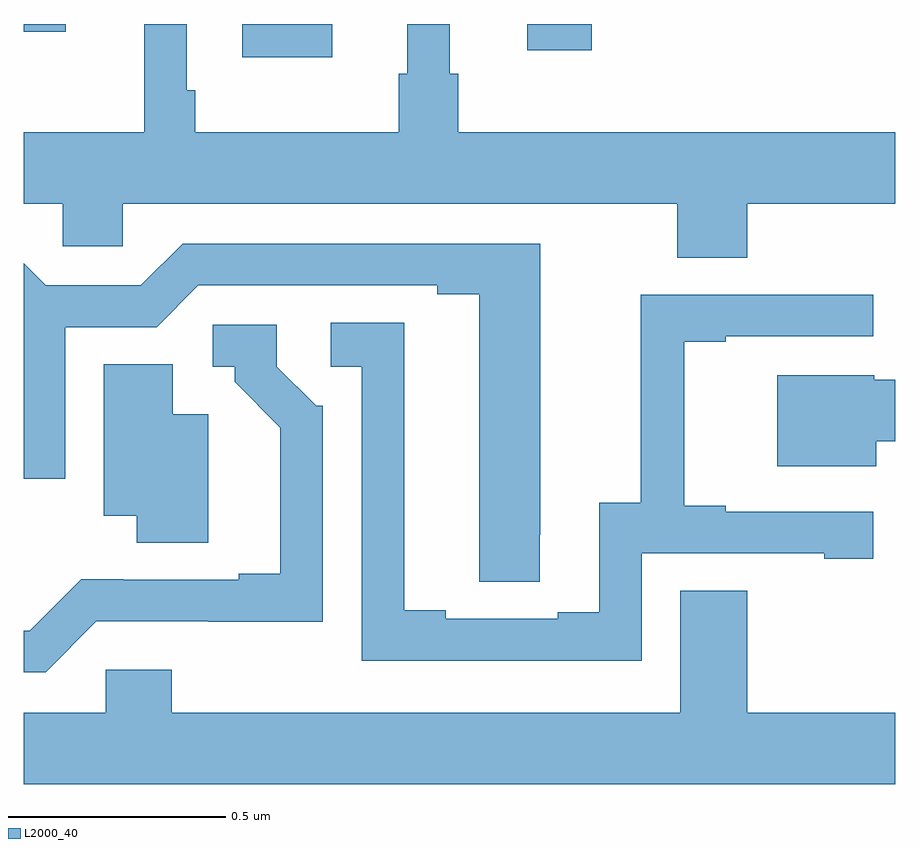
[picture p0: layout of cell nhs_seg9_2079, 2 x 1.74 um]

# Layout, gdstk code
import gdstk
lib = gdstk.Library(unit=1e-6, precision=1e-09)
def R(c, l, rs):  # rectangles x0, y0, x1, y1
    for r in rs: c.add(gdstk.rectangle(r[:2], r[2:], *l))
def P(c, l, *ps):  # polygons
    for p in ps: c.add(gdstk.Polygon(p, *l))
L2000_40 = (2000, 40)

nhs_seg9_2079 = lib.new_cell('nhs_seg9_2079')
R(nhs_seg9_2079, L2000_40, [(136.502,1195.424,136.708,1195.5), (137.156,1195.44,137.303,1195.5), (136,1195.482,136.097,1195.5)])
P(nhs_seg9_2079, L2000_40, [(136,1195.088),(136.089,1195.088),(136.089,1194.99),(136.227,1194.99),(136.227,1195.088),(137.5,1195.088),(137.5,1194.964),(137.66,1194.964),(137.66,1195.088),(138,1195.088),(138,1195.252),(136.997,1195.252),(136.997,1195.386),(136.978,1195.386),(136.978,1195.5),(136.88,1195.5),(136.88,1195.386),(136.861,1195.386),(136.861,1195.252),(136.394,1195.252),(136.394,1195.348),(136.374,1195.348),(136.374,1195.5),(136.277,1195.5),(136.277,1195.252),(136,1195.252)],
  [(137.184,1194.328),(137.185,1194.328),(137.185,1194.996),(136.365,1194.996),(136.269,1194.9),(136.051,1194.9),(136,1194.951),(136,1194.456),(136.095,1194.456),(136.095,1194.804),(136.305,1194.804),(136.401,1194.9),(136.949,1194.9),(136.949,1194.88),(137.045,1194.88),(137.045,1194.22),(137.184,1194.22)],
  [(137.418,1194.285),(137.837,1194.285),(137.837,1194.273),(137.95,1194.273),(137.95,1194.381),(137.611,1194.381),(137.611,1194.394),(137.516,1194.394),(137.516,1194.771),(137.611,1194.771),(137.611,1194.783),(137.95,1194.783),(137.95,1194.879),(137.416,1194.879),(137.416,1194.401),(137.321,1194.401),(137.321,1194.15),(137.225,1194.15),(137.225,1194.135),(136.969,1194.135),(136.969,1194.155),(136.873,1194.155),(136.873,1194.815),(136.704,1194.815),(136.704,1194.714),(136.776,1194.714),(136.776,1194.039),(137.418,1194.039)],
  [(136.167,1194.129),(136.423,1194.129),(136.423,1194.128),(136.686,1194.128),(136.686,1194.624),(136.671,1194.624),(136.581,1194.714),(136.581,1194.81),(136.434,1194.81),(136.434,1194.714),(136.484,1194.714),(136.484,1194.679),(136.589,1194.574),(136.589,1194.238),(136.493,1194.238),(136.493,1194.225),(136.228,1194.225),(136.228,1194.226),(136.132,1194.226),(136.014,1194.108),(136,1194.108),(136,1194.012),(136.05,1194.012)],
  [(136.423,1194.604),(136.342,1194.604),(136.342,1194.719),(136.184,1194.719),(136.184,1194.371),(136.259,1194.371),(136.259,1194.31),(136.423,1194.31)],
  [(137.956,1194.542),(138,1194.542),(138,1194.684),(137.952,1194.684),(137.952,1194.694),(137.729,1194.694),(137.729,1194.485),(137.956,1194.485)],
  [(138,1193.92),(137.66,1193.92),(137.66,1194.2),(137.507,1194.2),(137.507,1193.92),(136.34,1193.92),(136.34,1194.018),(136.188,1194.018),(136.188,1193.92),(136,1193.92),(136,1193.756),(138,1193.756)])

lib.write_gds('nhs_seg9_2079.gds')
